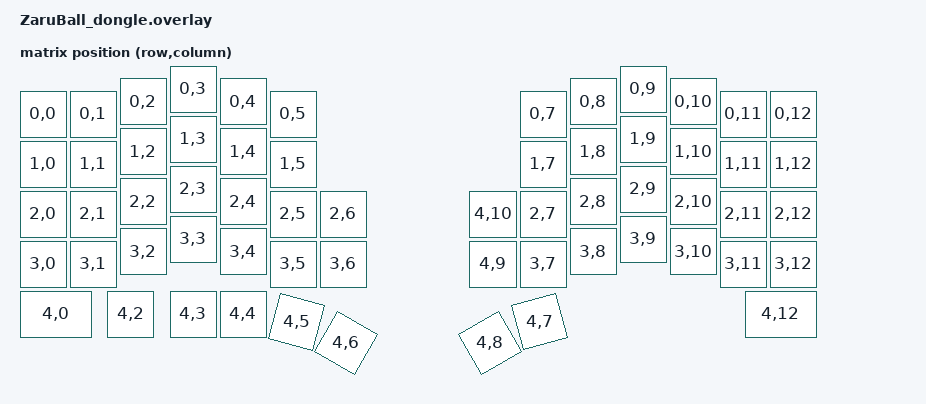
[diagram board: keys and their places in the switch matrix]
#include <dt-bindings/zmk/matrix_transform.h>
#include "ZaruBall.dtsi"

/ {
    chosen {
        zmk,kscan = &mock_kscan;
        zmk,physical-layout = &physical_layout0;
    };

    mock_kscan: mock_kscan_0 {
        compatible = "zmk,kscan-mock";
        columns = <0>;
        rows = <0>;
        events = <0>;
    };

    default_transform: keymap_transform0 {
        compatible = "zmk,matrix-transform";
        columns = <13>;
        rows = <5>;
        map = <
            RC(0,0) RC(0,1) RC(0,2) RC(0,3) RC(0,4) RC(0,5)                       RC(0,7) RC(0,8) RC(0,9) RC(0,10) RC(0,11) RC(0,12)
            RC(1,0) RC(1,1) RC(1,2) RC(1,3) RC(1,4) RC(1,5)                       RC(1,7) RC(1,8) RC(1,9) RC(1,10) RC(1,11) RC(1,12)
            RC(2,0) RC(2,1) RC(2,2) RC(2,3) RC(2,4) RC(2,5) RC(2,6)      RC(4,10) RC(2,7) RC(2,8) RC(2,9) RC(2,10) RC(2,11) RC(2,12)
            RC(3,0) RC(3,1) RC(3,2) RC(3,3) RC(3,4) RC(3,5) RC(3,6)      RC(4,9)  RC(3,7) RC(3,8) RC(3,9) RC(3,10) RC(3,11) RC(3,12)
            RC(4,0)         RC(4,2) RC(4,3) RC(4,4) RC(4,5) RC(4,6)      RC(4,8)  RC(4,7)                                   RC(4,12)
        >;

    };
    physical_layout0: physical_layout0 {
        compatible = "zmk,physical-layout";
        display-name = "Default Layout";
        transform = <&default_transform>;
        // chose nodeで設定しているからkscanいらない？ kscan = <&kscan0>;
        keys  //                     w   h    x    y     rot    rx    ry
            = <&key_physical_attrs 100 100    0   50       0     0     0>
            , <&key_physical_attrs 100 100  100   50       0     0     0>
            , <&key_physical_attrs 100 100  200   25       0     0     0>
            , <&key_physical_attrs 100 100  300    0       0     0     0>
            , <&key_physical_attrs 100 100  400   25       0     0     0>
            , <&key_physical_attrs 100 100  500   50       0     0     0>

            , <&key_physical_attrs 100 100 1000   50       0     0     0>
            , <&key_physical_attrs 100 100 1100   25       0     0     0>
            , <&key_physical_attrs 100 100 1200    0       0     0     0>
            , <&key_physical_attrs 100 100 1300   25       0     0     0>
            , <&key_physical_attrs 100 100 1400   50       0     0     0>
            , <&key_physical_attrs 100 100 1500   50       0     0     0>


            , <&key_physical_attrs 100 100    0  150       0     0     0>
            , <&key_physical_attrs 100 100  100  150       0     0     0>
            , <&key_physical_attrs 100 100  200  125       0     0     0>
            , <&key_physical_attrs 100 100  300  100       0     0     0>
            , <&key_physical_attrs 100 100  400  125       0     0     0>
            , <&key_physical_attrs 100 100  500  150       0     0     0>

            , <&key_physical_attrs 100 100 1000  150       0     0     0>
            , <&key_physical_attrs 100 100 1100  125       0     0     0>
            , <&key_physical_attrs 100 100 1200  100       0     0     0>
            , <&key_physical_attrs 100 100 1300  125       0     0     0>
            , <&key_physical_attrs 100 100 1400  150       0     0     0>
            , <&key_physical_attrs 100 100 1500  150       0     0     0>


            , <&key_physical_attrs 100 100    0  250       0     0     0>
            , <&key_physical_attrs 100 100  100  250       0     0     0>
            , <&key_physical_attrs 100 100  200  225       0     0     0>
            , <&key_physical_attrs 100 100  300  200       0     0     0>
            , <&key_physical_attrs 100 100  400  225       0     0     0>
            , <&key_physical_attrs 100 100  500  250       0     0     0>
            , <&key_physical_attrs 100 100  600  250       0     0     0>

            , <&key_physical_attrs 100 100  900  250       0     0     0>
            , <&key_physical_attrs 100 100 1000  250       0     0     0>
            , <&key_physical_attrs 100 100 1100  225       0     0     0>
            , <&key_physical_attrs 100 100 1200  200       0     0     0>
            , <&key_physical_attrs 100 100 1300  225       0     0     0>
            , <&key_physical_attrs 100 100 1400  250       0     0     0>
            , <&key_physical_attrs 100 100 1500  250       0     0     0>


            , <&key_physical_attrs 100 100    0  350       0     0     0>
            , <&key_physical_attrs 100 100  100  350       0     0     0>
            , <&key_physical_attrs 100 100  200  325       0     0     0>
            , <&key_physical_attrs 100 100  300  300       0     0     0>
            , <&key_physical_attrs 100 100  400  325       0     0     0>
            , <&key_physical_attrs 100 100  500  350       0     0     0>
            , <&key_physical_attrs 100 100  600  350       0     0     0>

            , <&key_physical_attrs 100 100  900  350       0     0     0>
            , <&key_physical_attrs 100 100 1000  350       0     0     0>
            , <&key_physical_attrs 100 100 1100  325       0     0     0>
            , <&key_physical_attrs 100 100 1200  300       0     0     0>
            , <&key_physical_attrs 100 100 1300  325       0     0     0>
            , <&key_physical_attrs 100 100 1400  350       0     0     0>
            , <&key_physical_attrs 100 100 1500  350       0     0     0>


            , <&key_physical_attrs 150 100    0  450       0     0     0>
            , <&key_physical_attrs 100 100  175  450       0     0     0>
            , <&key_physical_attrs 100 100  300  450       0     0     0>
            , <&key_physical_attrs 100 100  400  450       0     0     0>
            , <&key_physical_attrs 100 100  522  455    1500   522   455>
            , <&key_physical_attrs 100 100  638  490    3000   638   490>

            , <&key_physical_attrs 100 100  875  540  (-3000)  875   540>
            , <&key_physical_attrs 100 100  982  480  (-1500)  982   480>
            , <&key_physical_attrs 150 100 1450  450       0     0     0>
            ;
    };
};


#include <input/processors.dtsi>
#include <dt-bindings/zmk/input_transform.h>
#include <zephyr/dt-bindings/input/input-event-codes.h>

&trackball_listener {
    status = "okay";

    input-processors = <&zip_temp_layer 4 500>;
    scroll {
        layers = <3>;
        input-processors =
            <&zip_xy_transform INPUT_TRANSFORM_X_INVERT>,
            <&zip_xy_to_scroll_mapper>;
    };
};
